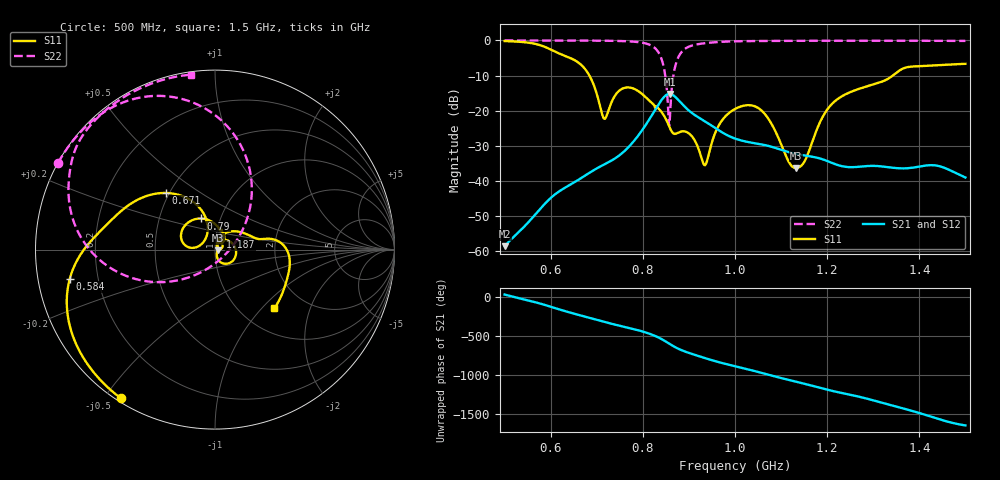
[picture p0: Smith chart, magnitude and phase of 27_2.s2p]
! TOUCHSTONE file generated by CST MICROWAVE STUDIO
! Date and time: Wed Oct 28 19:38:35 2020
! Project name: Scenario_1_Circular_Tissue_out_of_Line_v2.cst
! Parameters = {dy1=103.8; L_HA=400; MT=2.54; Rad_Dielectric=30; Rad_Lower=7.3; Rad_Upper=30; a_HA=580; a_WG=246; b_HA=500; b_WG=121; c_HA=0; c_WG=187; d_feed=85; dx1=346; h_feed=15; h_lower=18; h_upper=40}
! Header version: 2018
! Port assignment regex: !\s*Touchstone port\s*([0-9]+)\s*=\s*(CST MWS port|CST DS port)\s*([0-9]+|Zmin|Zmax)\s*\(\"(.*)\"\)(\s*mode\s*([0-9]+))?.*
! Touchstone port assignment:
! Touchstone port 1 = CST MWS port 1 ("")
! Touchstone port 2 = CST MWS port 2 ("")
# GHz S DB R 50
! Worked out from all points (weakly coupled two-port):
!   1003 points, 500 MHz to 1.5 GHz, reference 50 ohm
!   highest |S21| = -15.22 dB at 858 MHz (marker M1); lowest = -58.5 dB at 500 MHz (marker M2)
!   lowest |S11| = -36.3 dB at 1.132 GHz (marker M3), VSWR 1.03, Z = 51.5 - j0.294 ohm
!   |S11| at or under -10 dB: 684 MHz to 1.342 GHz (658.4 MHz wide, 65 % of centre)
!   |S22| runs from -24.4 to 0.0 dB; largest |S21 - S12| = 6.4e-05
!   S11 on the Smith chart (normalised r, x): 500 MHz: 0.01, -0.55; 584 MHz: 0.10, -0.10; 671 MHz: 0.48, +0.37; 790 MHz: 0.81, +0.29; 1.187 GHz: 1.05, +0.14; 1.5 GHz: 1.41, -1.18
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0.5  -0.17 -122.3  -58.51 27.0  -58.51 27.0  -0.01 151.1
0.584  -1.67 -168.6  -46.93 -100.4  -46.93 -100.4  -0.02 145.3
0.667  -7.05 135.1  -39.08 115.4  -39.08 115.4  -0.04 138.3
0.671  -7.58 131.0  -38.74 108.9  -38.74 108.9  -0.04 137.9
0.716  -22.26 139.8  -35.28 36.1  -35.28 36.1  -0.08 132.8
0.75  -14.16 162.9  -32.59 -12.7  -32.59 -12.7  -0.16 127.4
0.79  -14.41 114.5  -27.06 -70.6  -27.06 -70.6  -0.48 116.7
0.834  -19.38 67.1  -18.21 -163.9  -18.21 -163.9  -3.42 82.9
0.858  -24.70 43.0  -15.22 114.2  -15.22 114.2  -23.69 -72.8
0.867  -26.51 48.4  -15.70 82.4  -15.70 82.4  -9.40 -147.7
0.879  -26.09 49.7  -17.21 46.3  -17.21 46.3  -4.27 -171.9
0.906  -27.19 18.6  -20.59 -13.6  -20.59 -13.6  -1.48 163.5
0.935  -35.48 38.2  -23.03 -68.4  -23.03 -68.4  -0.78 152.5
0.965  -24.11 55.9  -25.58 -120.4  -25.58 -120.4  -0.44 145.9
1  -19.50 15.0  -27.91 -172.2  -27.91 -172.2  -0.25 140.2
1.059  -20.12 -53.3  -29.60 100.4  -29.60 100.4  -0.16 133.4
1.132  -36.28 -10.7  -32.28 -10.2  -32.28 -10.2  -0.11 126.9
1.167  -29.12 65.4  -33.06 -61.9  -33.06 -61.9  -0.10 124.1
1.187  -22.56 66.9  -33.68 -93.2  -33.68 -93.2  -0.10 122.6
1.23  -16.04 40.1  -35.70 -153.2  -35.70 -153.2  -0.08 119.3
1.334  -10.76 12.0  -36.08 55.3  -36.08 55.3  -0.08 111.4
1.5  -6.65 -44.7  -38.98 148.2  -38.98 148.1  -0.14 97.8
